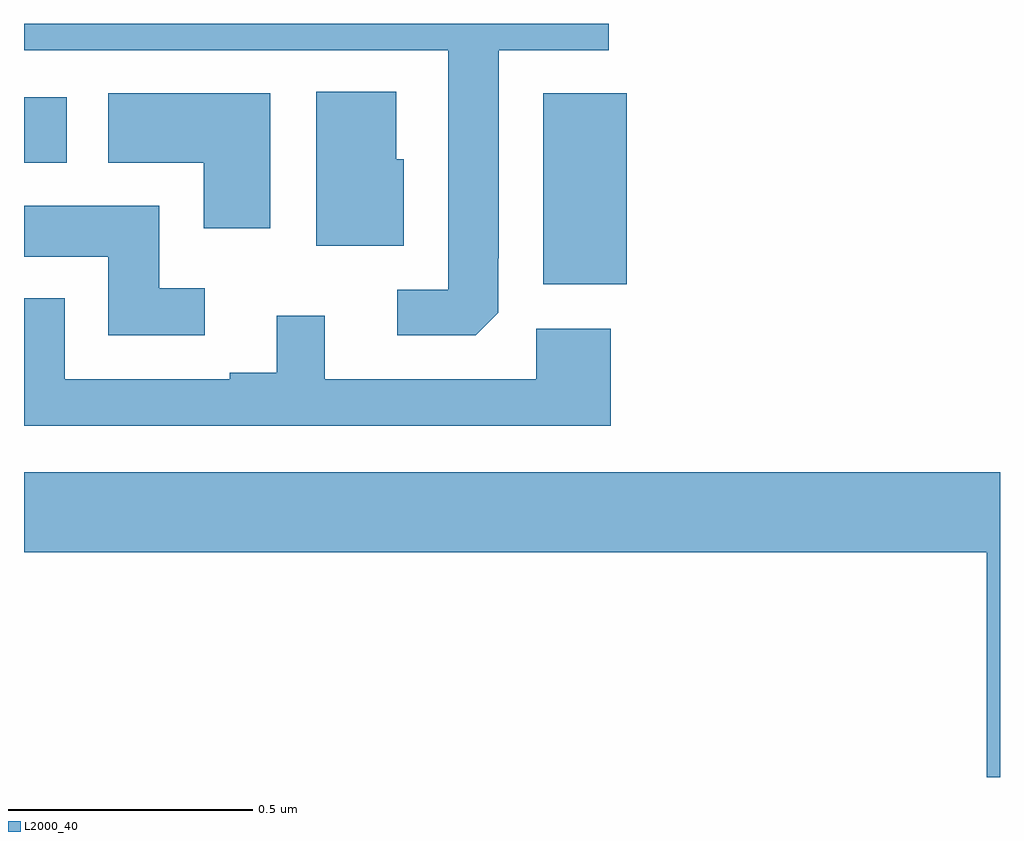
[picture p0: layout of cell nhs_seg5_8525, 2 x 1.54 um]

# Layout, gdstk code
import gdstk
lib = gdstk.Library(unit=1e-6, precision=1e-09)
def R(c, l, rs):  # rectangles x0, y0, x1, y1
    for r in rs: c.add(gdstk.rectangle(r[:2], r[2:], *l))
def P(c, l, *ps):  # polygons
    for p in ps: c.add(gdstk.Polygon(p, *l))
L2000_40 = (2000, 40)

nhs_seg5_8525 = lib.new_cell('nhs_seg5_8525')
R(nhs_seg5_8525, L2000_40, [(223.064,901.265,223.235,901.657), (222,901.514,222.088,901.648)])
P(nhs_seg5_8525, L2000_40, [(222.972,901.207),(222.972,901.318),(222.973,901.318),(222.973,901.745),(223.198,901.745),(223.198,901.799),(222,901.799),(222,901.745),(222.869,901.745),(222.869,901.254),(222.765,901.254),(222.765,901.161),(222.926,901.161)],
  [(222.778,901.521),(222.763,901.521),(222.763,901.66),(222.599,901.66),(222.599,901.344),(222.778,901.344)],
  [(222.505,901.657),(222.173,901.657),(222.173,901.514),(222.368,901.514),(222.368,901.38),(222.505,901.38)],
  [(222.37,901.257),(222.277,901.257),(222.277,901.426),(222,901.426),(222,901.322),(222.173,901.322),(222.173,901.161),(222.37,901.161)],
  [(223.202,901.174),(223.05,901.174),(223.05,901.071),(222.616,901.071),(222.616,901.201),(222.518,901.201),(222.518,901.084),(222.422,901.084),(222.422,901.071),(222.084,901.071),(222.084,901.237),(222,901.237),(222,900.975),(223.202,900.975)],
  [(224,900.88),(222,900.88),(222,900.716),(223.973,900.716),(223.973,900.255),(224,900.255)])

lib.write_gds('nhs_seg5_8525.gds')
